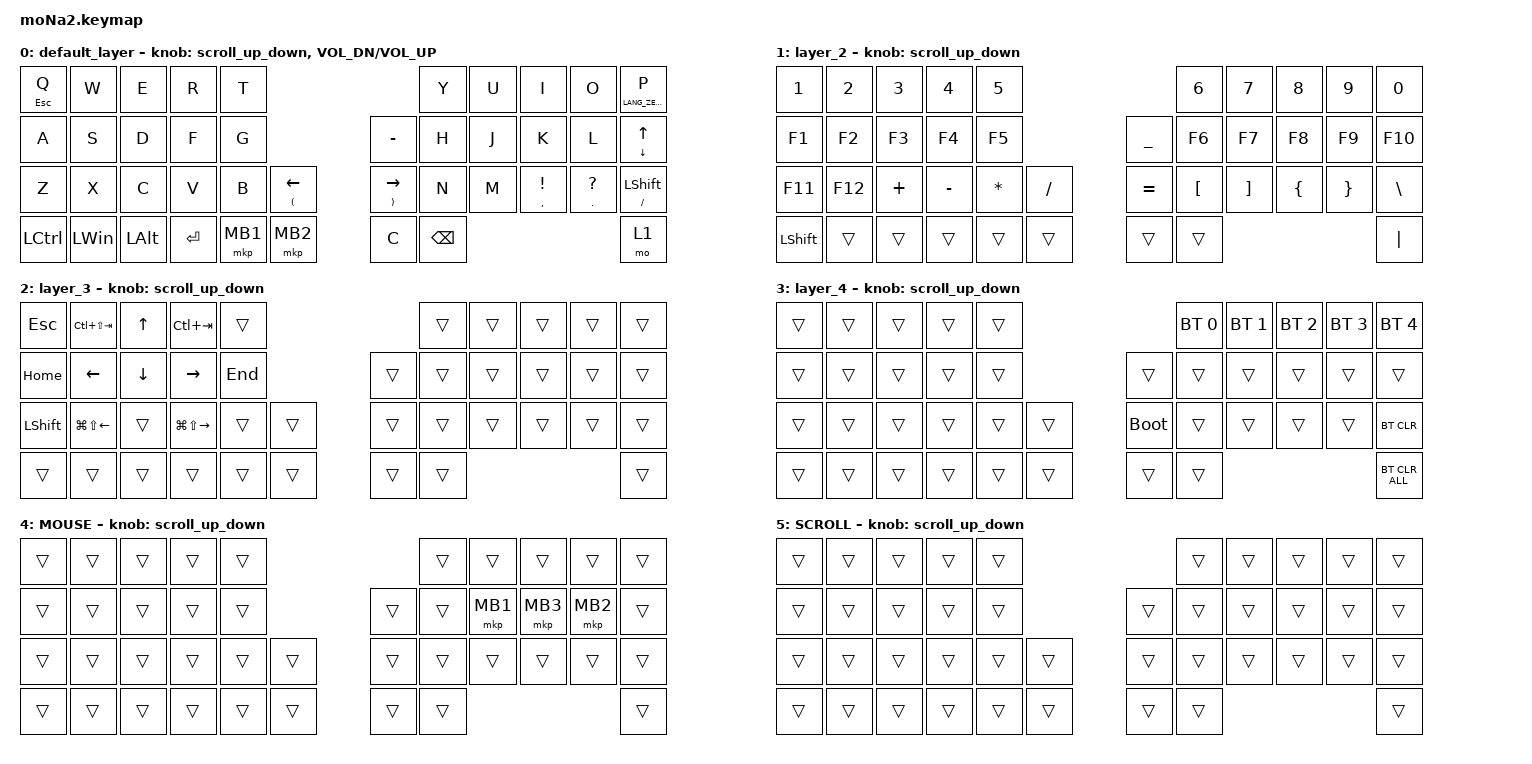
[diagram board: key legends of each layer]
#include <behaviors.dtsi>
#include <dt-bindings/zmk/bt.h>
#include <dt-bindings/zmk/keys.h>
#include <dt-bindings/zmk/pointing.h>

#define ZMK_POINTING_DEFAULT_SCRL_VAL 100
#define MOUSE 5
#define SCROLL 6

&mt {
    flavor = "balanced";
    quick-tap-ms = <0>;
};

/ {
    combos { compatible = "zmk,combos"; };

    macros {
        to_layer_0: to_layer_0 {
            compatible = "zmk,behavior-macro-one-param";
            #binding-cells = <1>;
            bindings = <&to 0 &macro_param_1to1 &kp MACRO_PLACEHOLDER>;
            label = "TO_LAYER_0";
        };
    };

    behaviors {
        lt_to_layer_0: lt_to_layer_0 {
            compatible = "zmk,behavior-hold-tap";
            label = "LAYER_TAP_TO_0";
            bindings = <&mo>, <&to_layer_0>;

            #binding-cells = <2>;
            tapping-term-ms = <200>;
        };

        scroll_up_down: behavior_sensor_rotate_mouse_wheel_up_down {
            compatible = "zmk,behavior-sensor-rotate";
            #sensor-binding-cells = <0>;
            bindings = <&msc SCRL_UP>, <&msc SCRL_DOWN>;

            tap-ms = <20>;
        };
    };

    keymap {
        compatible = "zmk,keymap";

        default_layer {
            bindings = <
&mt ESCAPE Q  &kp W         &kp E         &kp R      &kp T                                                               &kp Y          &kp U  &kp I                  &kp O             &mt LANG_ZENKAKUHANKAKU P
&kp A         &kp S         &kp D         &kp F      &kp G                                  &kp MINUS                    &kp H          &kp J  &kp K                  &kp L             &mt DOWN UP
&kp Z         &kp X         &kp C         &kp V      &kp B     &mt LEFT_PARENTHESIS LEFT    &mt RIGHT_PARENTHESIS RIGHT  &kp N          &kp M  &mt COMMA EXCLAMATION  &mt DOT QUESTION  &mt SLASH LEFT_SHIFT
&kp LCTRL     &kp LEFT_WIN  &kp LEFT_ALT  &kp ENTER  &mkp MB1  &mkp MB2                     &kp C                        &kp BACKSPACE                                                  &mo 1
            >;

            sensor-bindings =
                <&scroll_up_down>,
                <&inc_dec_kp C_VOL_DN C_VOL_UP>;
        };

        layer_2 {
            bindings = <
&kp NUMBER_1    &kp NUMBER_2  &kp NUMBER_3  &kp NUMBER_4  &kp N5                                  &kp NUMBER_6      &kp N7             &kp N8          &kp N9           &kp N0
&kp F1          &kp F2        &kp F3        &kp F4        &kp F5                  &kp UNDERSCORE  &kp F6            &kp F7             &kp F8          &kp F9           &kp F10
&kp F11         &kp F12       &kp PLUS      &kp MINUS     &kp ASTRK  &kp SLASH    &kp EQUAL       &kp LEFT_BRACKET  &kp RIGHT_BRACKET  &kp LEFT_BRACE  &kp RIGHT_BRACE  &kp BACKSLASH
&kp LEFT_SHIFT  &trans        &trans        &trans        &trans     &trans       &trans          &trans                                                                &kp PIPE
            >;

            sensor-bindings = <&scroll_up_down>;
        };

        layer_3 {
            bindings = <
&kp ESCAPE      &kp LC(LS(TAB))         &kp UP_ARROW    &kp LC(TAB)              &trans                     &trans  &trans  &trans  &trans  &trans
&kp HOME        &kp LEFT_ARROW          &kp DOWN_ARROW  &kp RIGHT_ARROW          &kp END            &trans  &trans  &trans  &trans  &trans  &trans
&kp LEFT_SHIFT  &kp LG(LS(LEFT_ARROW))  &trans          &kp LG(LS(RIGHT_ARROW))  &trans   &trans    &trans  &trans  &trans  &trans  &trans  &trans
&trans          &trans                  &trans          &trans                   &trans   &trans    &trans  &trans                          &trans
            >;

            sensor-bindings = <&scroll_up_down>;
        };

        layer_4 {
            bindings = <
&trans  &trans  &trans  &trans  &trans                         &bt BT_SEL 0  &bt BT_SEL 1  &bt BT_SEL 2  &bt BT_SEL 3  &bt BT_SEL 4
&trans  &trans  &trans  &trans  &trans            &trans       &trans        &trans        &trans        &trans        &trans
&trans  &trans  &trans  &trans  &trans  &trans    &bootloader  &trans        &trans        &trans        &trans        &bt BT_CLR
&trans  &trans  &trans  &trans  &trans  &trans    &trans       &trans                                                  &bt BT_CLR_ALL
            >;

            sensor-bindings = <&scroll_up_down>;
        };

        MOUSE {
            bindings = <
&trans  &trans  &trans  &trans  &trans                    &trans  &trans    &trans    &trans    &trans
&trans  &trans  &trans  &trans  &trans            &trans  &trans  &mkp MB1  &mkp MB3  &mkp MB2  &trans
&trans  &trans  &trans  &trans  &trans  &trans    &trans  &trans  &trans    &trans    &trans    &trans
&trans  &trans  &trans  &trans  &trans  &trans    &trans  &trans                                &trans
            >;

            sensor-bindings = <&scroll_up_down>;
        };

        SCROLL {
            bindings = <
&trans  &trans  &trans  &trans  &trans                    &trans  &trans  &trans  &trans  &trans
&trans  &trans  &trans  &trans  &trans            &trans  &trans  &trans  &trans  &trans  &trans
&trans  &trans  &trans  &trans  &trans  &trans    &trans  &trans  &trans  &trans  &trans  &trans
&trans  &trans  &trans  &trans  &trans  &trans    &trans  &trans                          &trans
            >;

            sensor-bindings = <&scroll_up_down>;
        };
    };
};
